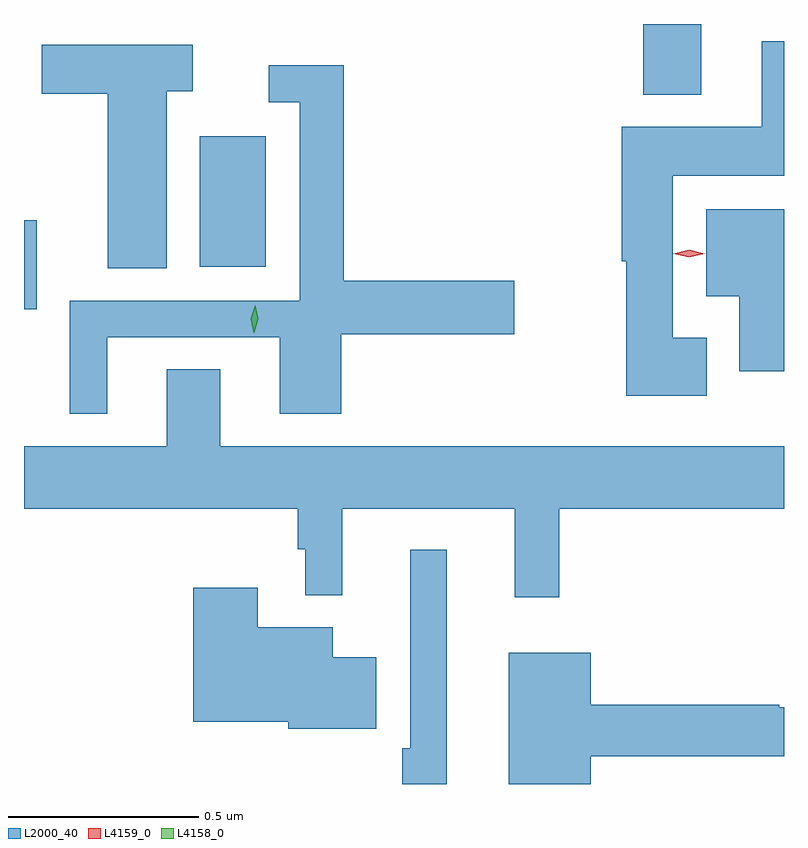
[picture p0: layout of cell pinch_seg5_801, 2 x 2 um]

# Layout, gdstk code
import gdstk
lib = gdstk.Library(unit=1e-6, precision=1e-09)
def R(c, l, rs):  # rectangles x0, y0, x1, y1
    for r in rs: c.add(gdstk.rectangle(r[:2], r[2:], *l))
def P(c, l, *ps):  # polygons
    for p in ps: c.add(gdstk.Polygon(p, *l))
L2000_40 = (2000, 40)
L4158_0 = (4158, 0)
L4159_0 = (4159, 0)

pinch_seg5_801 = lib.new_cell('pinch_seg5_801')
R(pinch_seg5_801, L2000_40, [(762.289,913.229,762.322,913.462), (762.752,913.34,762.925,913.684), (763.919,913.793,764.071,913.979)])
P(pinch_seg5_801, L2000_40, [(764.086,913.153),(763.996,913.153),(763.996,913.58),(764.289,913.58),(764.289,913.933),(764.231,913.933),(764.231,913.708),(763.862,913.708),(763.862,913.355),(763.874,913.355),(763.874,913.001),(764.086,913.001)],
  [(762.664,913.802),(762.733,913.802),(762.733,913.924),(762.336,913.924),(762.336,913.795),(762.509,913.795),(762.509,913.336),(762.664,913.336)],
  [(762.508,913.155),(762.962,913.155),(762.962,912.954),(763.124,912.954),(763.124,913.162),(763.579,913.162),(763.579,913.304),(763.13,913.304),(763.13,913.87),(762.933,913.87),(762.933,913.773),(763.014,913.773),(763.014,913.251),(762.41,913.251),(762.41,912.954),(762.508,912.954)],
  [(764.289,913.492),(764.084,913.492),(764.084,913.262),(764.171,913.262),(764.171,913.065),(764.289,913.065)],
  [(762.805,913.07),(762.665,913.07),(762.665,912.868),(762.289,912.868),(762.289,912.704),(763.009,912.704),(763.009,912.597),(763.029,912.597),(763.029,912.476),(763.127,912.476),(763.127,912.704),(763.58,912.704),(763.58,912.471),(763.697,912.471),(763.697,912.704),(764.289,912.704),(764.289,912.868),(762.805,912.868)],
  [(763.402,912.595),(763.305,912.595),(763.305,912.073),(763.285,912.073),(763.285,911.979),(763.402,911.979)],
  [(763.216,912.313),(763.102,912.313),(763.102,912.391),(762.904,912.391),(762.904,912.496),(762.734,912.496),(762.734,912.143),(762.984,912.143),(762.984,912.125),(763.216,912.125)],
  [(763.78,912.052),(764.289,912.052),(764.289,912.181),(764.276,912.181),(764.276,912.188),(763.78,912.188),(763.78,912.325),(763.565,912.325),(763.565,911.979),(763.78,911.979)])
P(pinch_seg5_801, L4158_0, [(762.894,913.167),(762.886,913.203),(762.897,913.239),(762.898,913.239),(762.898,913.239),(762.906,913.203),(762.895,913.167),(762.895,913.167)])
P(pinch_seg5_801, L4159_0, [(764.039,913.365),(763.998,913.375),(763.998,913.375),(763.998,913.375),(764.039,913.385),(764.08,913.374),(764.08,913.374),(764.08,913.374)])

lib.write_gds('pinch_seg5_801.gds')
